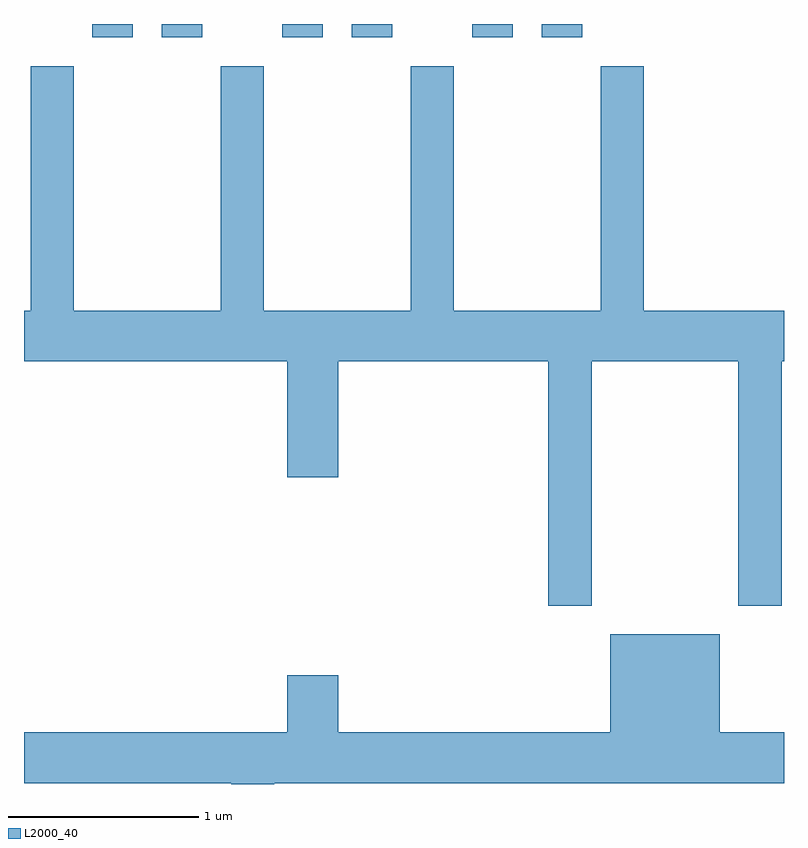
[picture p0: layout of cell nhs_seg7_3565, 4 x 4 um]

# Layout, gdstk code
import gdstk
lib = gdstk.Library(unit=1e-6, precision=1e-09)
def R(c, l, rs):  # rectangles x0, y0, x1, y1
    for r in rs: c.add(gdstk.rectangle(r[:2], r[2:], *l))
def P(c, l, *ps):  # polygons
    for p in ps: c.add(gdstk.Polygon(p, *l))
L2000_40 = (2000, 40)

nhs_seg7_3565 = lib.new_cell('nhs_seg7_3565')
R(nhs_seg7_3565, L2000_40, [(293.971,1778.181,294.184,1778.252), (294.336,1778.181,294.549,1778.252), (294.971,1778.181,295.184,1778.252), (295.336,1778.181,295.549,1778.252), (295.971,1778.181,296.184,1778.252), (296.336,1778.181,296.549,1778.252)])
P(nhs_seg7_3565, L2000_40, [(296.371,1775.191),(296.599,1775.191),(296.599,1776.476),(297.371,1776.476),(297.371,1775.191),(297.599,1775.191),(297.599,1776.476),(297.611,1776.476),(297.611,1776.744),(296.874,1776.744),(296.874,1778.029),(296.646,1778.029),(296.646,1776.744),(295.874,1776.744),(295.874,1778.029),(295.646,1778.029),(295.646,1776.744),(294.874,1776.744),(294.874,1778.029),(294.646,1778.029),(294.646,1776.744),(293.874,1776.744),(293.874,1778.029),(293.646,1778.029),(293.646,1776.744),(293.611,1776.744),(293.611,1776.476),(294.996,1776.476),(294.996,1775.866),(295.264,1775.866),(295.264,1776.476),(296.371,1776.476)],
  [(294.929,1774.256),(297.611,1774.256),(297.611,1774.524),(297.274,1774.524),(297.274,1775.039),(296.696,1775.039),(296.696,1774.524),(295.264,1774.524),(295.264,1774.824),(294.996,1774.824),(294.996,1774.524),(293.611,1774.524),(293.611,1774.256),(294.701,1774.256),(294.701,1774.252),(294.929,1774.252)])

lib.write_gds('nhs_seg7_3565.gds')
